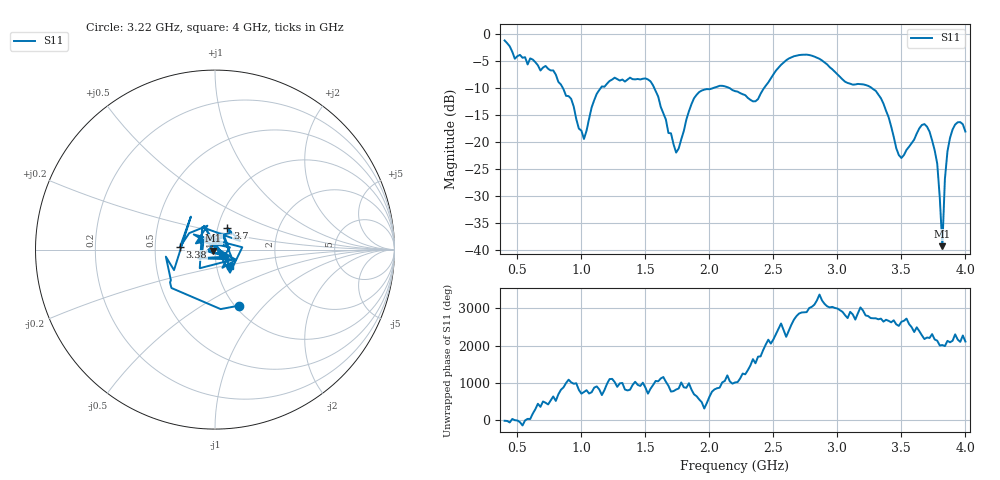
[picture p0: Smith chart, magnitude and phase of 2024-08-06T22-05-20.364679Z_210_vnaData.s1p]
!Created with skrf (http://scikit-rf.org).
# Hz S RI R 50.0
!freq ReS11 ImS11
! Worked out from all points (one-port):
!   181 points, 400 MHz to 4 GHz, reference 50 ohm
!   lowest |S11| = -39.4 dB at 3.82 GHz (marker M1), VSWR 1.02, Z = 49.2 - j0.652 ohm
!   |S11| at or under -10 dB: 856.2 MHz to 1.15 GHz (293.5 MHz wide, 29.3 % of centre); 1.57 GHz to 2.025 GHz (455 MHz wide, 25.3 % of centre); 3.271 GHz to end of sweep (the widest 3 of 4)
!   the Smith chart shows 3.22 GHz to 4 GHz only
!   S11 on the Smith chart (normalised r, x): 3.22 GHz: 1.04, -0.74; 3.38 GHz: 0.67, +0.02; 3.7 GHz: 1.11, +0.27; 4 GHz: 1.16, -0.22
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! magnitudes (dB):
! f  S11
! 400 MHz  -1.1
! 480 MHz  -4.5
! 780 MHz  -6.7
! 860 MHz  -10.2
! 1.02 GHz  -19.4
! 1.12 GHz  -11.0
! 1.3 GHz  -8.6
! 1.54 GHz  -8.7
! 1.74 GHz  -22.0
! 1.76 GHz  -21.2
! 1.86 GHz  -12.9
! 1.92 GHz  -10.7
! 2.2 GHz  -10.5
! 2.36 GHz  -12.4
! 2.66 GHz  -4.1
! 2.86 GHz  -4.5
! 3.1 GHz  -9.2
! 3.22 GHz  -9.4
! 3.38 GHz  -14.2
! 3.48 GHz  -22.4
! 3.56 GHz  -20.9
! 3.7 GHz  -17.1
! 3.78 GHz  -24.0
! 3.82 GHz  -39.4
! 3.84 GHz  -26.8
! 3.88 GHz  -19.2
! 3.94 GHz  -16.3
! 4 GHz  -18.1
